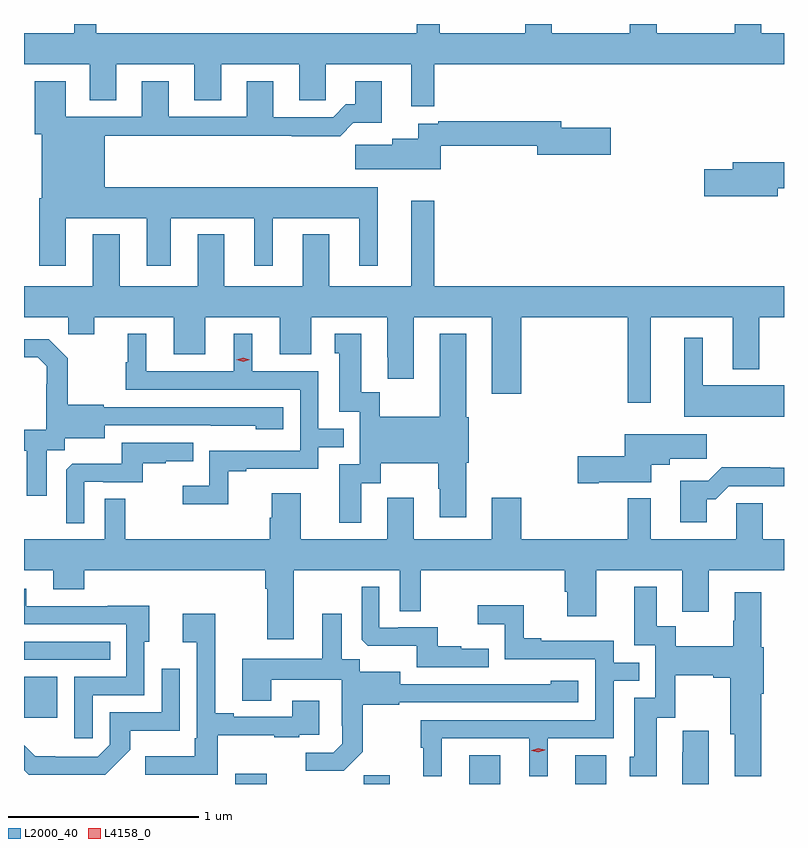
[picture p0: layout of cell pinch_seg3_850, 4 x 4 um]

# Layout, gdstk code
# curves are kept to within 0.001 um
import gdstk
lib = gdstk.Library(unit=1e-6, precision=1e-09)
def R(c, l, rs):  # rectangles x0, y0, x1, y1
    for r in rs: c.add(gdstk.rectangle(r[:2], r[2:], *l))
def P(c, l, *ps):  # polygons
    for p in ps: c.add(gdstk.Polygon(p, *l))
L2000_40 = (2000, 40)
L4158_0 = (4158, 0)

pinch_seg3_850 = lib.new_cell('pinch_seg3_850')
R(pinch_seg3_850, L2000_40, [(737.183,682.476,737.347,682.531), (737.857,682.476,737.995,682.523), (738.413,682.476,738.577,682.627), (738.971,682.476,739.135,682.627), (736.07,682.826,736.246,683.041), (736.07,683.13,736.523,683.226)])
P(pinch_seg3_850, L2000_40, [(738.229,686.264),(740.07,686.264),(740.07,686.428),(739.951,686.428),(739.951,686.476),(739.811,686.476),(739.811,686.428),(739.399,686.428),(739.399,686.476),(739.259,686.476),(739.259,686.428),(738.847,686.428),(738.847,686.476),(738.708,686.476),(738.708,686.428),(738.259,686.428),(738.259,686.476),(738.138,686.476),(738.138,686.428),(736.451,686.428),(736.451,686.476),(736.334,686.476),(736.334,686.428),(736.07,686.428),(736.07,686.264),(736.415,686.264),(736.415,686.074),(736.555,686.074),(736.555,686.264),(736.967,686.264),(736.967,686.074),(737.107,686.074),(737.107,686.264),(737.519,686.264),(737.519,686.074),(737.658,686.074),(737.658,686.264),(738.107,686.264),(738.107,686.043),(738.229,686.043)],
  [(736.291,685.454),(736.715,685.454),(736.715,685.203),(736.843,685.203),(736.843,685.454),(737.282,685.454),(737.282,685.203),(737.38,685.203),(737.38,685.454),(737.834,685.454),(737.834,685.203),(737.932,685.203),(737.932,685.618),(736.495,685.618),(736.495,685.888),(737.479,685.888),(737.479,685.886),(737.735,685.886),(737.804,685.955),(737.953,685.955),(737.953,686.176),(737.813,686.176),(737.813,686.053),(737.764,686.053),(737.697,685.986),(737.383,685.986),(737.383,686.176),(737.243,686.176),(737.243,685.989),(736.831,685.989),(736.831,686.176),(736.691,686.176),(736.691,685.989),(736.291,685.989),(736.291,686.176),(736.127,686.176),(736.127,685.896),(736.163,685.896),(736.163,685.558),(736.151,685.558),(736.151,685.203),(736.291,685.203)],
  [(738.263,685.834),(738.77,685.834),(738.77,685.787),(739.159,685.787),(739.159,685.929),(738.898,685.929),(738.898,685.963),(738.25,685.963),(738.25,685.95),(738.146,685.95),(738.146,685.873),(738.008,685.873),(738.008,685.841),(737.814,685.841),(737.814,685.712),(738.263,685.712)],
  [(740.038,685.612),(740.07,685.612),(740.07,685.748),(739.799,685.748),(739.799,685.712),(739.65,685.712),(739.65,685.57),(740.038,685.57)],
  [(737.537,685.096),(737.125,685.096),(737.125,685.369),(736.985,685.369),(736.985,685.096),(736.573,685.096),(736.573,685.369),(736.433,685.369),(736.433,685.096),(736.07,685.096),(736.07,684.932),(736.303,684.932),(736.303,684.842),(736.441,684.842),(736.441,684.932),(736.859,684.932),(736.859,684.738),(737.023,684.738),(737.023,684.932),(737.417,684.932),(737.417,684.738),(737.581,684.738),(737.581,684.932),(737.981,684.932),(737.981,684.721),(737.984,684.721),(737.984,684.609),(738.121,684.609),(738.121,684.932),(738.533,684.932),(738.533,684.531),(738.686,684.531),(738.686,684.932),(739.248,684.932),(739.248,684.483),(739.369,684.483),(739.369,684.932),(739.799,684.932),(739.799,684.659),(739.939,684.659),(739.939,684.932),(740.07,684.932),(740.07,685.096),(738.229,685.096),(738.229,685.546),(738.107,685.546),(738.107,685.096),(737.677,685.096),(737.677,685.369),(737.537,685.369)],
  [(737.845,684.058),(737.947,684.058),(737.947,684.164),(738.25,684.164),(738.25,684.03),(738.257,684.03),(738.257,683.88),(738.397,683.88),(738.397,684.168),(738.41,684.168),(738.41,684.405),(738.397,684.405),(738.397,684.847),(738.257,684.847),(738.257,684.409),(737.943,684.409),(737.943,684.539),(737.845,684.539),(737.845,684.847),(737.705,684.847),(737.705,684.744),(737.729,684.744),(737.729,684.435),(737.838,684.435),(737.838,684.159),(737.729,684.159),(737.729,683.85),(737.845,683.85)],
  [(737.145,684.123),(737.239,684.123),(737.239,684.135),(737.619,684.135),(737.619,684.249),(737.753,684.249),(737.753,684.345),(737.619,684.345),(737.619,684.648),(737.272,684.648),(737.272,684.847),(737.174,684.847),(737.174,684.648),(736.714,684.648),(736.714,684.847),(736.616,684.847),(736.616,684.696),(736.605,684.696),(736.605,684.552),(737.523,684.552),(737.523,684.231),(737.046,684.231),(737.046,684.046),(736.905,684.046),(736.905,683.948),(737.145,683.948)],
  [(740.07,684.574),(739.642,684.574),(739.642,684.826),(739.544,684.826),(739.544,684.41),(740.07,684.41)],
  [(736.189,684.232),(736.284,684.232),(736.284,684.296),(736.495,684.296),(736.495,684.363),(737.289,684.362),(737.289,684.344),(737.434,684.344),(737.434,684.459),(736.491,684.459),(736.491,684.472),(736.299,684.472),(736.299,684.717),(736.199,684.817),(736.07,684.817),(736.07,684.723),(736.143,684.723),(736.19,684.676),(736.19,684.581),(736.188,684.581),(736.188,684.34),(736.07,684.34),(736.07,684.23),(736.085,684.23),(736.085,683.994),(736.189,683.994)],
  [(739.096,684.065),(739.372,684.065),(739.372,684.155),(739.468,684.155),(739.468,684.187),(739.663,684.187),(739.663,684.316),(739.232,684.316),(739.232,684.2),(738.984,684.2),(738.984,684.058),(739.096,684.058)],
  [(736.386,684.066),(736.486,684.066),(736.486,684.063),(736.694,684.063),(736.694,684.165),(736.817,684.165),(736.817,684.176),(736.961,684.176),(736.961,684.273),(736.584,684.273),(736.584,684.161),(736.325,684.161),(736.293,684.129),(736.293,683.849),(736.386,683.849)],
  [(739.663,683.975),(739.712,683.975),(739.779,684.042),(740.07,684.042),(740.07,684.14),(739.997,684.14),(739.997,684.143),(739.742,684.143),(739.672,684.073),(739.523,684.073),(739.523,683.853),(739.663,683.853)],
  [(736.07,683.6),(736.223,683.6),(736.223,683.501),(736.387,683.501),(736.387,683.6),(737.339,683.6),(737.339,683.504),(737.351,683.504),(737.351,683.238),(737.491,683.238),(737.491,683.6),(738.048,683.6),(738.048,683.386),(738.157,683.386),(738.157,683.6),(738.917,683.6),(738.917,683.487),(738.929,683.487),(738.929,683.358),(739.081,683.358),(739.081,683.6),(739.535,683.6),(739.535,683.382),(739.675,683.382),(739.675,683.6),(740.07,683.6),(740.07,683.764),(739.957,683.764),(739.957,683.954),(739.818,683.954),(739.818,683.764),(739.369,683.764),(739.369,683.98),(739.248,683.98),(739.248,683.764),(738.686,683.764),(738.686,683.983),(738.533,683.983),(738.533,683.764),(738.121,683.764),(738.121,683.983),(737.981,683.983),(737.981,683.764),(737.527,683.764),(737.527,684.007),(737.375,684.007),(737.375,683.877),(737.363,683.877),(737.363,683.764),(736.603,683.764),(736.603,683.978),(736.494,683.978),(736.494,683.764),(736.07,683.764)],
  [(739.951,682.952),(739.964,682.952),(739.964,683.196),(739.951,683.196),(739.951,683.485),(739.811,683.485),(739.811,683.334),(739.804,683.334),(739.804,683.2),(739.501,683.2),(739.501,683.306),(739.399,683.306),(739.399,683.515),(739.283,683.515),(739.283,683.205),(739.392,683.205),(739.392,682.929),(739.283,682.929),(739.283,682.62),(739.259,682.62),(739.259,682.518),(739.399,682.518),(739.399,682.826),(739.497,682.826),(739.497,683.048),(739.697,683.048),(739.697,683.036),(739.786,683.036),(739.786,682.737),(739.811,682.737),(739.811,682.517),(739.951,682.517)],
  [(738.515,683.188),(738.371,683.188),(738.371,683.2),(738.248,683.2),(738.248,683.301),(738.04,683.301),(738.04,683.298),(737.94,683.298),(737.94,683.515),(737.847,683.515),(737.847,683.235),(737.879,683.204),(738.138,683.204),(738.138,683.091),(738.515,683.091)],
  [(736.431,682.944),(736.704,682.944),(736.704,683.226),(736.729,683.226),(736.729,683.414),(736.511,683.414),(736.511,683.412),(736.081,683.412),(736.081,683.503),(736.07,683.503),(736.07,683.316),(736.608,683.316),(736.608,683.04),(736.335,683.04),(736.335,682.716),(736.431,682.716)],
  [(738.268,682.716),(738.728,682.716),(738.728,682.517),(738.826,682.517),(738.826,682.716),(739.173,682.716),(739.173,683.019),(739.307,683.019),(739.307,683.115),(739.173,683.115),(739.173,683.229),(738.793,683.229),(738.793,683.242),(738.699,683.242),(738.699,683.417),(738.459,683.417),(738.459,683.318),(738.6,683.318),(738.6,683.133),(739.077,683.133),(739.077,682.812),(738.159,682.812),(738.159,682.668),(738.17,682.668),(738.17,682.517),(738.268,682.517)],
  [(737.853,682.647),(737.853,682.893),(738.045,682.893),(738.045,682.905),(738.988,682.905),(738.988,683.02),(738.843,683.02),(738.843,683.002),(738.049,683.001),(738.049,683.068),(737.838,683.068),(737.838,683.132),(737.743,683.132),(737.743,683.371),(737.639,683.371),(737.639,683.134),(737.219,683.134),(737.219,682.915),(737.371,682.915),(737.371,683.024),(737.742,683.024),(737.742,682.783),(737.744,682.783),(737.744,682.688),(737.697,682.641),(737.553,682.641),(737.553,682.547),(737.753,682.547)],
  [(737.089,682.733),(737.387,682.733),(737.387,682.722),(737.519,682.722),(737.519,682.734),(737.623,682.734),(737.623,682.915),(737.483,682.915),(737.483,682.83),(737.173,682.83),(737.173,682.849),(737.077,682.849),(737.077,683.371),(736.905,683.371),(736.905,683.222),(736.98,683.222),(736.98,682.717),(736.968,682.717),(736.968,682.621),(736.707,682.621),(736.707,682.524),(737.089,682.524)],
  [(736.629,682.655),(736.629,682.757),(736.89,682.757),(736.89,683.083),(736.794,683.083),(736.794,682.854),(736.521,682.854),(736.521,682.683),(736.458,682.62),(736.234,682.62),(736.234,682.622),(736.13,682.622),(736.07,682.681),(736.07,682.549),(736.095,682.524),(736.498,682.524)],
  [(739.675,682.756),(739.538,682.756),(739.538,682.643),(739.535,682.643),(739.535,682.476),(739.675,682.476)])
P(pinch_seg3_850, L4158_0, [(737.223,684.699),(737.187,684.709),(737.187,684.709),(737.187,684.71),(737.223,684.719),(737.259,684.71),(737.259,684.709),(737.259,684.709)],
  [(738.777,682.643),(738.742,682.652),(738.741,682.652),(738.742,682.653),(738.777,682.663),(738.812,682.655),(738.813,682.655),(738.812,682.654)])

lib.write_gds('pinch_seg3_850.gds')
